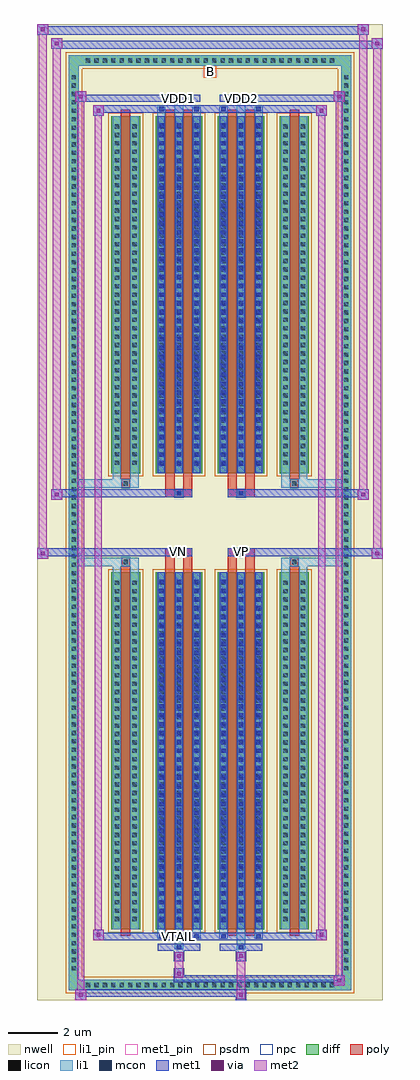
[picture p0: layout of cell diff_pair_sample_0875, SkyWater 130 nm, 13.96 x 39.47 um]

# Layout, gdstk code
import gdstk
lib = gdstk.Library(unit=1e-6, precision=5e-09)
def R(c, l, rs):  # rectangles x0, y0, x1, y1
    for r in rs: c.add(gdstk.rectangle(r[:2], r[2:], *l))
def A(c, l, x, y, w, h, nx, ny, dx, dy):  # array of equal rectangles
    R(c, l, [(x+i*dx, y+j*dy, x+i*dx+w, y+j*dy+h) for i in range(nx) for j in range(ny)])
def P(c, l, *ps):  # polygons
    for p in ps: c.add(gdstk.Polygon(p, *l))
nwell = (64, 20)
diff = (65, 20)
poly = (66, 20)
licon = (66, 44)
li1_pin = (67, 16)
li1 = (67, 20)
mcon = (67, 44)
met1_pin = (68, 16)
met1 = (68, 20)
via = (68, 44)
met2 = (69, 20)
psdm = (94, 20)
npc = (95, 20)

diff_pair_sample_0875 = lib.new_cell('diff_pair_sample_0875')
R(diff_pair_sample_0875, nwell, [(-6.98,-19.3,6.98,20.17), (-4.3,-17.49,-0.01,-0.825), (0.01,-17.49,4.3,-0.825), (-4.3,0.825,-0.01,17.49), (0.01,0.825,4.3,17.49)])
A(diff_pair_sample_0875, diff, -5.135, -18.9, 0.41, 0.41, 30, 2, 0.34, 37.39)
A(diff_pair_sample_0875, diff, -5.71, -18.225, 0.41, 0.41, 1, 107, 0, 0.34)
A(diff_pair_sample_0875, diff, 5.3, -18.225, 0.41, 0.41, 1, 107, 0, 0.34)
R(diff_pair_sample_0875, diff, [(-5.135,-18.9,5.135,-18.49), (-5.71,-18.225,-5.3,18.225), (5.3,-18.225,5.71,18.225), (-3.99,-16.445,-2.83,-2.005), (-2.19,-16.445,-0.32,-2.005), (0.32,-16.445,2.19,-2.005), (2.83,-16.445,3.99,-2.005), (-3.99,2.005,-2.83,16.445), (-2.19,2.005,-0.32,16.445), (0.32,2.005,2.19,16.445), (2.83,2.005,3.99,16.445), (-5.135,18.49,5.135,18.9)])
P(diff_pair_sample_0875, diff, [(5.71,18.9),(-5.71,18.9),(-5.71,-18.49),(-5.3,-18.49),(-5.3,18.49),(5.3,18.49),(5.3,-18.49),(-5.3,-18.49),(-5.71,-18.49),(-5.71,-18.9),(5.71,-18.9)])
R(diff_pair_sample_0875, poly, [(-3.6,-16.695,-3.22,-1.755), (-1.8,-16.695,-1.42,-1.755), (-1.09,-16.695,-0.71,-1.755), (0.71,-16.695,1.09,-1.755), (1.42,-16.695,1.8,-1.755), (3.22,-16.695,3.6,-1.755), (-3.575,-1.755,-3.245,-1.425), (-3.575,-1.755,-3.245,-1.425), (-1.8,-1.755,-1.42,-1.355), (-1.09,-1.755,-0.71,-1.355), (0.71,-1.755,1.09,-1.355), (1.42,-1.755,1.8,-1.355), (3.245,-1.755,3.575,-1.425), (3.245,-1.755,3.575,-1.425), (-1.8,-1.355,-0.71,-1.025), (-1.42,-1.355,-1.09,-1.025), (0.71,-1.355,1.8,-1.025), (1.09,-1.355,1.42,-1.025), (-1.8,1.025,-0.71,1.355), (-1.42,1.025,-1.09,1.355), (0.71,1.025,1.8,1.355), (1.09,1.025,1.42,1.355), (-1.8,1.355,-1.42,1.755), (-1.09,1.355,-0.71,1.755), (0.71,1.355,1.09,1.755), (1.42,1.355,1.8,1.755), (-3.575,1.425,-3.245,1.755), (-3.575,1.425,-3.245,1.755), (3.245,1.425,3.575,1.755), (3.245,1.425,3.575,1.755), (-3.6,1.755,-3.22,16.695), (-1.8,1.755,-1.42,16.695), (-1.09,1.755,-0.71,16.695), (0.71,1.755,1.09,16.695), (1.42,1.755,1.8,16.695), (3.22,1.755,3.6,16.695)])
A(diff_pair_sample_0875, licon, -5.015, -18.78, 0.17, 0.17, 30, 2, 0.34, 37.39)
A(diff_pair_sample_0875, licon, -5.59, -18.105, 0.17, 0.17, 1, 107, 0, 0.34)
A(diff_pair_sample_0875, licon, 5.42, -18.105, 0.17, 0.17, 1, 107, 0, 0.34)
A(diff_pair_sample_0875, licon, -3.85, -16.11, 0.17, 0.17, 1, 41, 0, 0.34)
A(diff_pair_sample_0875, licon, -3.14, -16.11, 0.17, 0.17, 1, 41, 0, 0.34)
A(diff_pair_sample_0875, licon, -2.05, -16.11, 0.17, 0.17, 3, 41, 0.71, 0.34)
A(diff_pair_sample_0875, licon, 0.46, -16.11, 0.17, 0.17, 3, 41, 0.71, 0.34)
A(diff_pair_sample_0875, licon, 2.97, -16.11, 0.17, 0.17, 1, 41, 0, 0.34)
A(diff_pair_sample_0875, licon, 3.68, -16.11, 0.17, 0.17, 1, 41, 0, 0.34)
A(diff_pair_sample_0875, licon, -3.85, 2.34, 0.17, 0.17, 1, 41, 0, 0.34)
A(diff_pair_sample_0875, licon, -3.14, 2.34, 0.17, 0.17, 1, 41, 0, 0.34)
A(diff_pair_sample_0875, licon, -2.05, 2.34, 0.17, 0.17, 3, 41, 0.71, 0.34)
A(diff_pair_sample_0875, licon, 0.46, 2.34, 0.17, 0.17, 3, 41, 0.71, 0.34)
A(diff_pair_sample_0875, licon, 2.97, 2.34, 0.17, 0.17, 1, 41, 0, 0.34)
A(diff_pair_sample_0875, licon, 3.68, 2.34, 0.17, 0.17, 1, 41, 0, 0.34)
R(diff_pair_sample_0875, licon, [(-3.495,-1.675,-3.325,-1.505), (3.325,-1.675,3.495,-1.505), (-1.34,-1.275,-1.17,-1.105), (1.17,-1.275,1.34,-1.105), (-1.34,1.105,-1.17,1.275), (1.17,1.105,1.34,1.275), (-3.495,1.505,-3.325,1.675), (3.325,1.505,3.495,1.675)])
R(diff_pair_sample_0875, li1_pin, [(-0.25,17.99,0.25,18.49)])
A(diff_pair_sample_0875, li1, -5.095, -18.86, 0.33, 0.33, 30, 2, 0.34, 37.39)
A(diff_pair_sample_0875, li1, -5.67, -18.185, 0.33, 0.33, 1, 107, 0, 0.34)
A(diff_pair_sample_0875, li1, 5.34, -18.185, 0.33, 0.33, 1, 107, 0, 0.34)
A(diff_pair_sample_0875, li1, -2.13, -16.445, 0.33, 14.44, 3, 2, 0.71, 18.45)
A(diff_pair_sample_0875, li1, 0.38, -16.445, 0.33, 14.44, 3, 2, 0.71, 18.45)
A(diff_pair_sample_0875, li1, -3.93, -16.19, 0.33, 0.33, 1, 41, 0, 0.34)
A(diff_pair_sample_0875, li1, -3.22, -16.19, 0.33, 0.33, 1, 41, 0, 0.34)
A(diff_pair_sample_0875, li1, -2.13, -16.19, 0.33, 0.33, 3, 41, 0.71, 0.34)
A(diff_pair_sample_0875, li1, 0.38, -16.19, 0.33, 0.33, 3, 41, 0.71, 0.34)
A(diff_pair_sample_0875, li1, 2.89, -16.19, 0.33, 0.33, 1, 41, 0, 0.34)
A(diff_pair_sample_0875, li1, 3.6, -16.19, 0.33, 0.33, 1, 41, 0, 0.34)
A(diff_pair_sample_0875, li1, -2.05, -16.15, 0.17, 0.17, 3, 39, 0.71, 0.36)
A(diff_pair_sample_0875, li1, -2.05, -16.15, 0.17, 13.85, 3, 2, 0.71, 18.45)
A(diff_pair_sample_0875, li1, 0.46, -16.15, 0.17, 0.17, 3, 39, 0.71, 0.36)
A(diff_pair_sample_0875, li1, 0.46, -16.15, 0.17, 13.85, 3, 2, 0.71, 18.45)
A(diff_pair_sample_0875, li1, -3.93, 2.26, 0.33, 0.33, 1, 41, 0, 0.34)
A(diff_pair_sample_0875, li1, -3.22, 2.26, 0.33, 0.33, 1, 41, 0, 0.34)
A(diff_pair_sample_0875, li1, -2.13, 2.26, 0.33, 0.33, 3, 41, 0.71, 0.34)
A(diff_pair_sample_0875, li1, 0.38, 2.26, 0.33, 0.33, 3, 41, 0.71, 0.34)
A(diff_pair_sample_0875, li1, 2.89, 2.26, 0.33, 0.33, 1, 41, 0, 0.34)
A(diff_pair_sample_0875, li1, 3.6, 2.26, 0.33, 0.33, 1, 41, 0, 0.34)
A(diff_pair_sample_0875, li1, -2.05, 2.3, 0.17, 0.17, 3, 39, 0.71, 0.36)
A(diff_pair_sample_0875, li1, 0.46, 2.3, 0.17, 0.17, 3, 39, 0.71, 0.36)
R(diff_pair_sample_0875, li1, [(-5.71,-18.9,-5.3,-18.49), (-5.71,-18.9,-5.3,-18.49), (-5.3,-18.9,5.3,-18.49), (5.3,-18.9,5.71,-18.49), (5.3,-18.9,5.71,-18.49), (-5.71,-18.49,-5.3,18.49), (5.3,-18.49,5.71,18.49), (-1.42,-17.25,-1.09,-16.445), (-1.34,-17.25,-1.17,-17.08), (1.09,-17.25,1.42,-16.445), (1.17,-17.25,1.34,-17.08), (-2.13,-16.82,-1.8,-16.445), (-2.05,-16.82,-1.88,-16.65), (-0.71,-16.82,-0.38,-16.445), (-0.63,-16.82,-0.46,-16.65), (0.38,-16.82,0.71,-16.445), (0.46,-16.82,0.63,-16.65), (1.8,-16.82,2.13,-16.445), (1.88,-16.82,2.05,-16.65), (-3.93,-16.445,-3.6,-2.005), (-3.22,-16.445,-2.89,-2.005), (2.89,-16.445,3.22,-2.005), (3.6,-16.445,3.93,-2.005), (-3.93,-2.005,-3.6,-1.425), (-3.22,-2.005,-2.89,-1.425), (2.89,-2.005,3.22,-1.425), (3.6,-2.005,3.93,-1.425), (-5.71,-1.755,-3.575,-1.425), (-3.93,-1.755,-3.575,-1.425), (-3.575,-1.755,-3.245,-1.425), (-3.245,-1.755,-2.89,-1.425), (2.89,-1.755,3.245,-1.425), (3.245,-1.755,3.575,-1.425), (3.245,-1.755,5.71,-1.425), (3.575,-1.755,3.93,-1.425), (-1.42,-1.355,-1.09,-1.025), (1.09,-1.355,1.42,-1.025), (-1.42,1.025,-1.09,1.355), (1.09,1.025,1.42,1.355), (-5.71,1.425,-3.575,1.755), (-3.93,1.425,-3.575,1.755), (-3.93,1.425,-3.6,2.005), (-3.575,1.425,-3.245,1.755), (-3.245,1.425,-2.89,1.755), (-3.22,1.425,-2.89,2.005), (2.89,1.425,3.245,1.755), (2.89,1.425,3.22,2.005), (3.245,1.425,3.575,1.755), (3.245,1.425,5.71,1.755), (3.575,1.425,3.93,1.755), (3.6,1.425,3.93,2.005), (-3.93,2.005,-3.6,16.445), (-3.22,2.005,-2.89,16.445), (2.89,2.005,3.22,16.445), (3.6,2.005,3.93,16.445), (-2.13,16.445,-1.8,16.82), (-1.42,16.445,-1.09,17.25), (-0.71,16.445,-0.38,16.82), (0.38,16.445,0.71,16.82), (1.09,16.445,1.42,17.25), (1.8,16.445,2.13,16.82), (-2.05,16.65,-1.88,16.82), (-0.63,16.65,-0.46,16.82), (0.46,16.65,0.63,16.82), (1.88,16.65,2.05,16.82), (-1.34,17.08,-1.17,17.25), (1.17,17.08,1.34,17.25), (-5.71,18.49,-5.3,18.9), (-5.71,18.49,-5.3,18.9), (-5.3,18.49,5.3,18.9), (5.3,18.49,5.71,18.9), (5.3,18.49,5.71,18.9)])
A(diff_pair_sample_0875, mcon, -2.05, -16.15, 0.17, 0.17, 3, 39, 0.71, 0.36)
A(diff_pair_sample_0875, mcon, 0.46, -16.15, 0.17, 0.17, 3, 39, 0.71, 0.36)
A(diff_pair_sample_0875, mcon, -2.05, 2.3, 0.17, 0.17, 3, 39, 0.71, 0.36)
A(diff_pair_sample_0875, mcon, 0.46, 2.3, 0.17, 0.17, 3, 39, 0.71, 0.36)
R(diff_pair_sample_0875, mcon, [(-1.34,-17.25,-1.17,-17.08), (1.17,-17.25,1.34,-17.08), (-2.05,-16.82,-1.88,-16.65), (-0.63,-16.82,-0.46,-16.65), (0.46,-16.82,0.63,-16.65), (1.88,-16.82,2.05,-16.65), (-1.34,-1.275,-1.17,-1.105), (1.17,-1.275,1.34,-1.105), (-1.34,1.105,-1.17,1.275), (1.17,1.105,1.34,1.275), (-2.05,16.65,-1.88,16.82), (-0.63,16.65,-0.46,16.82), (0.46,16.65,0.63,16.82), (1.88,16.65,2.05,16.82), (-1.34,17.08,-1.17,17.25), (1.17,17.08,1.34,17.25)])
R(diff_pair_sample_0875, met1_pin, [(-1.39,-16.86,-1.12,-16.59), (-1.39,-1.295,-1.12,-1.025), (1.12,-1.295,1.39,-1.025), (-1.39,17.04,-1.12,17.31), (1.12,17.04,1.39,17.31)])
A(diff_pair_sample_0875, met1, -2.11, -16.445, 0.29, 14.44, 3, 2, 0.71, 18.45)
A(diff_pair_sample_0875, met1, 0.4, -16.445, 0.29, 14.44, 3, 2, 0.71, 18.45)
A(diff_pair_sample_0875, met1, -2.11, -16.21, 0.29, 0.29, 3, 39, 0.71, 0.36)
A(diff_pair_sample_0875, met1, 0.4, -16.21, 0.29, 0.29, 3, 39, 0.71, 0.36)
A(diff_pair_sample_0875, met1, -2.11, 2.24, 0.29, 0.29, 3, 39, 0.71, 0.36)
A(diff_pair_sample_0875, met1, 0.4, 2.24, 0.29, 0.29, 3, 39, 0.71, 0.36)
R(diff_pair_sample_0875, met1, [(-5.44,-19.3,-5.01,-18.87), (1.04,-19.3,1.47,-18.87), (-5.44,-19.16,1.47,-18.87), (5.01,-18.73,5.44,-18.3), (-1.47,-18.59,5.44,-18.3), (-1.47,-18.45,-1.04,-18.02), (-1.47,-17.74,-1.04,-17.31), (1.04,-17.74,1.47,-17.31), (-2.11,-17.31,-0.4,-17.02), (-1.4,-17.31,-1.11,-17.02), (0.4,-17.31,2.11,-17.02), (1.11,-17.31,1.4,-17.02), (-4.73,-16.88,-4.3,-16.45), (-4.73,-16.88,-2.11,-16.59), (-2.11,-16.88,-1.82,-16.59), (-2.11,-16.88,-0.4,-16.59), (-0.69,-16.88,-0.4,-16.59), (-0.4,-16.88,0.4,-16.59), (0.4,-16.88,0.69,-16.59), (0.4,-16.88,2.11,-16.59), (1.82,-16.88,2.11,-16.59), (2.11,-16.88,4.73,-16.59), (4.3,-16.88,4.73,-16.45), (-6.98,-1.455,-6.55,-1.025), (6.55,-1.455,6.98,-1.025), (-6.98,-1.355,-0.71,-1.025), (-1.8,-1.355,-0.71,-1.025), (0.71,-1.355,1.8,-1.025), (0.71,-1.355,6.98,-1.025), (-1.4,-1.335,-1.11,-1.045), (1.11,-1.335,1.4,-1.045), (-6.41,0.925,-5.98,1.355), (5.98,0.925,6.41,1.355), (-6.41,1.025,-1.8,1.355), (-1.8,1.025,-0.71,1.355), (0.71,1.025,1.8,1.355), (1.8,1.025,6.41,1.355), (-1.4,1.045,-1.11,1.335), (1.11,1.045,1.4,1.335), (-4.73,16.45,-4.3,16.88), (4.3,16.45,4.73,16.88), (-4.73,16.59,-2.11,16.88), (-2.11,16.59,-1.82,16.88), (-2.11,16.59,-0.4,16.88), (-0.69,16.59,-0.4,16.88), (-0.4,16.59,0.4,16.88), (0.4,16.59,0.69,16.88), (0.4,16.59,2.11,16.88), (1.82,16.59,2.11,16.88), (2.11,16.59,4.73,16.88), (-5.44,17.02,-5.01,17.45), (-5.44,17.02,-2.11,17.31), (-2.11,17.02,-0.4,17.31), (-1.4,17.02,-1.11,17.31), (0.4,17.02,2.11,17.31), (1.11,17.02,1.4,17.31), (2.11,17.02,5.44,17.31), (5.01,17.02,5.44,17.45), (-6.41,19.17,-5.98,19.6), (-6.41,19.17,-4.3,19.5), (-4.3,19.17,4.3,19.5), (4.3,19.17,6.98,19.5), (6.55,19.17,6.98,19.6), (-6.98,19.74,-6.55,20.17), (-6.98,19.74,-4.3,20.07), (-4.3,19.74,4.3,20.07), (4.3,19.74,6.41,20.07), (5.98,19.74,6.41,20.17)])
R(diff_pair_sample_0875, via, [(-5.3,-19.16,-5.15,-19.01), (1.18,-19.16,1.33,-19.01), (5.15,-18.59,5.3,-18.44), (-1.33,-18.31,-1.18,-18.16), (-1.33,-17.6,-1.18,-17.45), (1.18,-17.6,1.33,-17.45), (-4.59,-16.74,-4.44,-16.59), (4.44,-16.74,4.59,-16.59), (-6.84,-1.315,-6.69,-1.165), (6.69,-1.315,6.84,-1.165), (-6.27,1.065,-6.12,1.215), (6.12,1.065,6.27,1.215), (-4.59,16.59,-4.44,16.74), (4.44,16.59,4.59,16.74), (-5.3,17.16,-5.15,17.31), (5.15,17.16,5.3,17.31), (-6.27,19.31,-6.12,19.46), (6.69,19.31,6.84,19.46), (-6.84,19.88,-6.69,20.03), (6.12,19.88,6.27,20.03)])
R(diff_pair_sample_0875, met2, [(-5.44,-19.3,-5.01,-18.87), (-5.37,-19.3,-5.08,17.45), (-5.08,-19.3,-5.01,-18.87), (-5.39,-19.25,-5.06,-18.92), (1.09,-19.25,1.42,-18.92), (1.09,-18.92,1.42,-17.69), (5.01,-18.73,5.44,-18.3), (5.08,-18.73,5.37,17.45), (5.37,-18.73,5.44,-18.3), (5.06,-18.68,5.39,-18.35), (-1.42,-18.4,-1.09,-18.07), (-1.42,-18.07,-1.09,-17.69), (-1.42,-17.69,-1.09,-17.36), (1.09,-17.69,1.42,-17.36), (-4.73,-16.88,-4.3,-16.45), (-4.66,-16.88,-4.37,16.88), (-4.37,-16.88,-4.3,-16.45), (4.3,-16.88,4.73,-16.45), (4.37,-16.88,4.66,16.88), (4.66,-16.88,4.73,-16.45), (-4.68,-16.83,-4.35,-16.5), (4.35,-16.83,4.68,-16.5), (-6.98,-1.455,-6.55,-1.025), (-6.93,-1.455,-6.6,20.17), (-6.6,-1.455,-6.55,-1.025), (6.55,-1.455,6.98,-1.025), (6.6,-1.455,6.93,19.6), (6.93,-1.455,6.98,-1.025), (-6.93,-1.405,-6.6,-1.075), (6.6,-1.405,6.93,-1.075), (-6.41,0.925,-5.98,1.355), (-6.36,0.925,-6.03,19.6), (-6.03,0.925,-5.98,1.355), (5.98,0.925,6.41,1.355), (6.03,0.925,6.36,20.17), (6.36,0.925,6.41,1.355), (-6.36,0.975,-6.03,1.305), (6.03,0.975,6.36,1.305), (-4.73,16.45,-4.3,16.88), (-4.37,16.45,-4.3,16.88), (4.3,16.45,4.73,16.88), (4.66,16.45,4.73,16.88), (-4.68,16.5,-4.35,16.83), (4.35,16.5,4.68,16.83), (-5.44,17.02,-5.01,17.45), (-5.08,17.02,-5.01,17.45), (5.01,17.02,5.44,17.45), (5.37,17.02,5.44,17.45), (-5.39,17.07,-5.06,17.4), (5.06,17.07,5.39,17.4), (-6.41,19.17,-5.98,19.6), (-6.03,19.17,-5.98,19.6), (6.55,19.17,6.98,19.6), (6.93,19.17,6.98,19.6), (-6.36,19.22,-6.03,19.55), (6.6,19.22,6.93,19.55), (-6.98,19.74,-6.55,20.17), (-6.6,19.74,-6.55,20.17), (5.98,19.74,6.41,20.17), (6.36,19.74,6.41,20.17), (-6.93,19.79,-6.6,20.12), (6.03,19.79,6.36,20.12)])
R(diff_pair_sample_0875, psdm, [(-4.12,-16.575,-2.7,-1.875), (-2.32,-16.575,-0.19,-1.875), (0.19,-16.575,2.32,-1.875), (2.7,-16.575,4.12,-1.875), (-4.12,1.875,-2.7,16.575), (-2.32,1.875,-0.19,16.575), (0.19,1.875,2.32,16.575), (2.7,1.875,4.12,16.575)])
P(diff_pair_sample_0875, psdm, [(5.84,19.03),(-5.84,19.03),(-5.84,-18.36),(-5.17,-18.36),(-5.17,18.36),(5.17,18.36),(5.17,-18.36),(-5.17,-18.36),(-5.84,-18.36),(-5.84,-19.03),(5.84,-19.03)])
R(diff_pair_sample_0875, npc, [(-3.595,-1.775,-3.225,-1.405), (3.225,-1.775,3.595,-1.405), (-1.44,-1.375,-1.07,-1.005), (1.07,-1.375,1.44,-1.005), (-1.44,1.005,-1.07,1.375), (1.07,1.005,1.44,1.375), (-3.595,1.405,-3.225,1.775), (3.225,1.405,3.595,1.775)])
diff_pair_sample_0875.add(gdstk.Label('VTAIL', (-1.255,-16.725), layer=68, texttype=5))
diff_pair_sample_0875.add(gdstk.Label('VN', (-1.255,-1.16), layer=68, texttype=5))
diff_pair_sample_0875.add(gdstk.Label('VP', (1.255,-1.16), layer=68, texttype=5))
diff_pair_sample_0875.add(gdstk.Label('B', (0,18.24), layer=67, texttype=5))
diff_pair_sample_0875.add(gdstk.Label('VDD2', (1.255,17.175), layer=68, texttype=5))
diff_pair_sample_0875.add(gdstk.Label('VDD1', (-1.255,17.175), layer=68, texttype=5))

lib.write_gds('diff_pair_sample_0875.gds')
